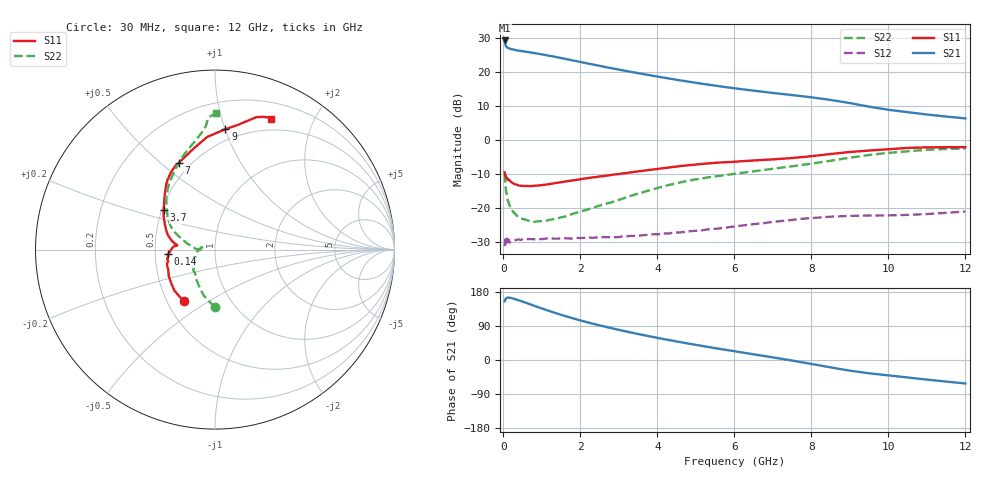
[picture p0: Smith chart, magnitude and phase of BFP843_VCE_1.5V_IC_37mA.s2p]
! Infineon Technologies  Discrete & RF Semiconductors
! BFP843
! VCE =  1.5 V,  IC =  37 mA
! Common Emitter S-Parameters:  Aug 2013
# GHz  S  MA  R  50
!  f  S11  S21  S12  S22
! GHz  MAG  ANG  MAG  ANG  MAG  ANG  MAG  ANG
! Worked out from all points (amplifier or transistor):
!   103 points, 30 MHz to 12 GHz, reference 50 ohm
!   highest |S21| = 29.3 dB at 30 MHz (marker M1)
!   |S21| within 3 dB of that: start of sweep to 395.1 MHz
!   unconditionally stable (mu >= 1): 93.99 MHz to 10.5 GHz
!   at 400 MHz: K = 1.03, MAG = 26.6 dB, |S12| = -29.1 dB
!   at 3.7 GHz: K = 1.35, MAG = 20.0 dB, |S12| = -27.8 dB
!   at 12 GHz: K = 0.86, MSG = 13.7 dB, |S12| = -20.9 dB
!   S11 on the Smith chart (normalised r, x): 30 MHz: 0.61, -0.40; 140 MHz: 0.58, -0.03; 3.7 GHz: 0.51, +0.26; 7 GHz: 0.43, +0.58; 9 GHz: 0.41, +1.00; 12 GHz: 0.37, +1.45
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0.03  0.3373 -121.0  29.34 154.8  0.0278 28.4  0.3202 -90.4
0.04  0.3213 -134.9  26.77 157.2  0.0304 16.1  0.2624 -104.1
0.05  0.3088 -141.7  25.45 160.4  0.0348 17.3  0.2245 -112.8
0.07  0.2838 -156.7  23.87 162.8  0.0291 12.4  0.1718 -130.3
0.1  0.2669 -167.0  23.1 164.4  0.0328 9.8  0.139 -147.4
0.14  0.2656 -174.3  22.54 164.6  0.0331 9.5  0.1156 -159.9
0.2  0.2438 179.6  21.91 163.7  0.0323 8.2  0.1003 -173.2
0.8  0.2143 173.3  19.14 143.1  0.0351 4.7  0.0633 169.1
1.1  0.2233 171.8  17.88 132.4  0.0359 5.4  0.0656 173.6
1.6  0.2476 168.0  15.77 116.1  0.0363 6.5  0.0756 178.4
2.1  0.2741 162.8  13.79 101.6  0.0368 8.5  0.093 178.6
2.8  0.3091 154.1  11.49 84.1  0.0377 10.2  0.122 174.1
3.2  0.3312 149.1  10.42 75.0  0.0388 11.7  0.1454 169.4
3.7  0.3609 142.3  9.261 64.5  0.0406 12.5  0.1776 164.4
4.1  0.3864 137.3  8.45 56.5  0.0417 14.6  0.2064 160.7
5  0.4413 128.5  6.998 39.9  0.0467 15.6  0.2666 153.8
6.1  0.4883 120.9  5.724 21.5  0.0551 15.6  0.3269 144.1
7  0.5241 112.4  4.964 6.8  0.0631 12.5  0.3819 135.4
8.5  0.6291 94.0  3.917 -19.5  0.0754 2.0  0.501 116.1
9  0.6731 85.1  3.526 -28.2  0.0774 -2.4  0.5557 108.2
10.5  0.7727 72.7  2.591 -46.1  0.0801 -10.3  0.6891 94.3
12  0.7931 66.9  2.098 -62.0  0.0898 -16.9  0.759 89.4
